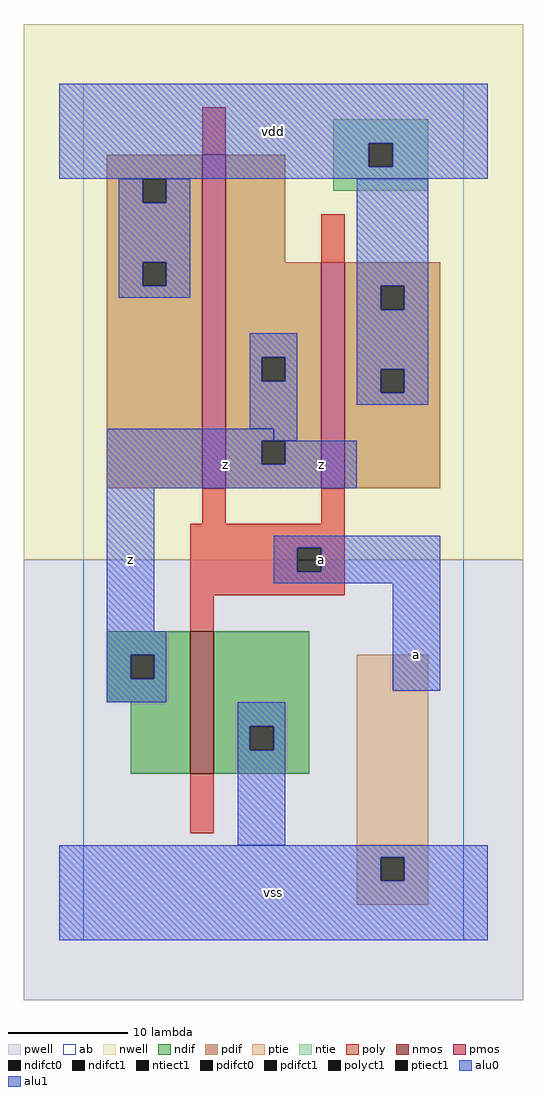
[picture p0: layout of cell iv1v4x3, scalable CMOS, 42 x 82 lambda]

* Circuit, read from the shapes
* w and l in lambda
.subckt iv1v4x3 a vdd vss z
M1 vss a z vss nfet w=12 l=2
M2 z a vdd vdd pfet w=28 l=2
M3 vdd a z vdd pfet w=19 l=2
.ends

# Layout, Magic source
magic
tech scmos
<< ab >>
rect 0 0 32 72
<< nwell >>
rect -5 32 37 77
<< pwell >>
rect -5 -5 37 32
<< poly >>
rect 10 66 12 70
rect 20 57 22 61
rect 10 35 12 38
rect 20 35 22 38
rect 9 33 22 35
rect 9 31 18 33
rect 20 31 22 33
rect 9 29 22 31
rect 9 26 11 29
rect 9 9 11 14
<< ndif >>
rect 2 24 9 26
rect 2 22 4 24
rect 6 22 9 24
rect 2 20 9 22
rect 4 14 9 20
rect 11 18 19 26
rect 11 16 14 18
rect 16 16 19 18
rect 11 14 19 16
<< pdif >>
rect 2 64 10 66
rect 2 62 5 64
rect 7 62 10 64
rect 2 57 10 62
rect 2 55 5 57
rect 7 55 10 57
rect 2 38 10 55
rect 12 57 17 66
rect 12 49 20 57
rect 12 47 15 49
rect 17 47 20 49
rect 12 42 20 47
rect 12 40 15 42
rect 17 40 20 42
rect 12 38 20 40
rect 22 55 30 57
rect 22 53 25 55
rect 27 53 30 55
rect 22 48 30 53
rect 22 46 25 48
rect 27 46 30 48
rect 22 38 30 46
<< alu1 >>
rect -2 67 34 72
rect -2 65 24 67
rect 26 65 34 67
rect -2 64 34 65
rect 2 42 16 43
rect 2 40 15 42
rect 17 40 23 42
rect 2 38 23 40
rect 2 26 6 38
rect 16 33 30 34
rect 16 31 18 33
rect 20 31 30 33
rect 16 30 30 31
rect 2 24 7 26
rect 2 22 4 24
rect 6 22 7 24
rect 2 20 7 22
rect 26 21 30 30
rect -2 7 34 8
rect -2 5 25 7
rect 27 5 34 7
rect -2 0 34 5
<< ptie >>
rect 23 7 29 24
rect 23 5 25 7
rect 27 5 29 7
rect 23 3 29 5
<< ntie >>
rect 21 67 29 69
rect 21 65 24 67
rect 26 65 29 67
rect 21 63 29 65
<< nmos >>
rect 9 14 11 26
<< pmos >>
rect 10 38 12 66
rect 20 38 22 57
<< polyct1 >>
rect 18 31 20 33
<< ndifct0 >>
rect 14 16 16 18
<< ndifct1 >>
rect 4 22 6 24
<< ntiect1 >>
rect 24 65 26 67
<< ptiect1 >>
rect 25 5 27 7
<< pdifct0 >>
rect 5 62 7 64
rect 5 55 7 57
rect 15 47 17 49
rect 25 53 27 55
rect 25 46 27 48
<< pdifct1 >>
rect 15 40 17 42
<< alu0 >>
rect 3 62 5 64
rect 7 62 9 64
rect 3 57 9 62
rect 3 55 5 57
rect 7 55 9 57
rect 3 54 9 55
rect 23 55 29 64
rect 23 53 25 55
rect 27 53 29 55
rect 14 49 18 51
rect 14 47 15 49
rect 17 47 18 49
rect 14 43 18 47
rect 23 48 29 53
rect 23 46 25 48
rect 27 46 29 48
rect 23 45 29 46
rect 16 42 18 43
rect 13 18 17 20
rect 13 16 14 18
rect 16 16 17 18
rect 13 8 17 16
<< labels >>
rlabel alu1 4 32 4 32 6 z
rlabel alu1 12 40 12 40 6 z
rlabel alu1 16 4 16 4 6 vss
rlabel alu1 20 32 20 32 6 a
rlabel alu1 20 40 20 40 6 z
rlabel alu1 16 68 16 68 6 vdd
rlabel alu1 28 24 28 24 6 a
<< end >>
